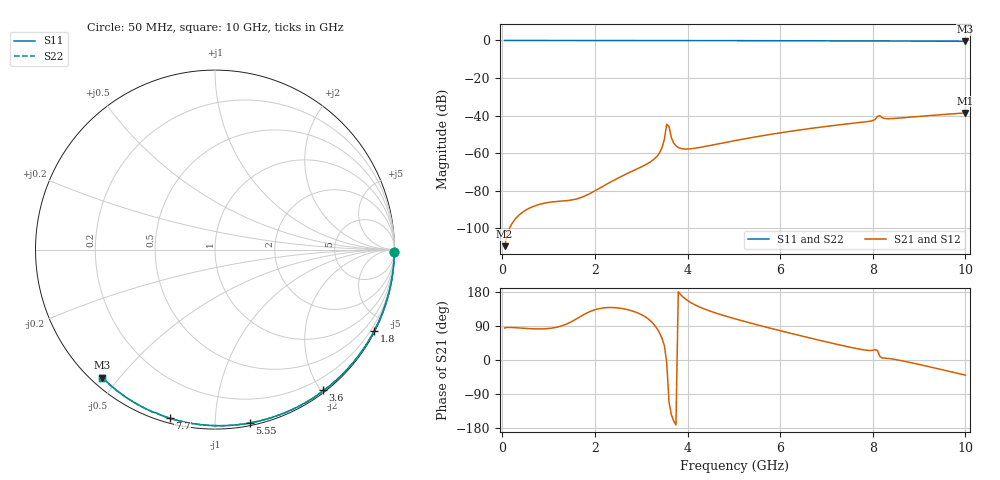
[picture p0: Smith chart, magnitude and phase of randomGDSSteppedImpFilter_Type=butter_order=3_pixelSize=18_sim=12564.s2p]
! freq	dB(S11)	phase(S11)	dB(S12)	phase(S12)
!  dB(S21)	phase(S21)	dB(S22)	phase(S22)
!S-par simulation data
#  GHz  S  DB  R 50
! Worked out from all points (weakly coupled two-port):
!   200 points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, 50 MHz to 10 GHz, reference 50 ohm
!   highest |S21| = -38.57 dB at 10 GHz (marker M1); lowest = -109.4 dB at 50 MHz (marker M2)
!   lowest |S11| = -0.4 dB at 10 GHz (marker M3), VSWR 39.15, Z = 1.54 - j22.6 ohm
!   |S11| at or under -10 dB: nowhere
!   |S22| runs from -0.4 to 0.0 dB; largest |S21 - S12| = 0
!   S11 on the Smith chart (normalised r, x): 50 MHz: open; 1.8 GHz: 0.04, -4.17; 3.6 GHz: 0.03, -2.03; 5.55 GHz: 0.02, -1.22; 7.7 GHz: 0.02, -0.77; 10 GHz: 0.03, -0.45
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0.05  -0.00 -0.8  -109.43 84.4  -109.43 84.4  -0.00 -0.8
1.75  -0.03 -26.2  -83.09 119.1  -83.09 119.1  -0.03 -26.2
1.8  -0.03 -26.9  -82.55 122.4  -82.55 122.4  -0.03 -26.9
2  -0.04 -29.9  -80.01 132.7  -80.01 132.7  -0.04 -29.9
3.1  -0.06 -45.7  -66.05 112.9  -66.05 112.9  -0.06 -45.7
3.25  -0.06 -47.8  -63.70 97.2  -63.70 97.2  -0.06 -47.8
3.4  -0.07 -50.0  -59.57 70.6  -59.57 70.6  -0.07 -50.0
3.5  -0.08 -51.4  -52.53 37.6  -52.53 37.6  -0.08 -51.4
3.55  -0.11 -52.2  -44.61 -5.7  -44.61 -5.7  -0.11 -52.2
3.6  -0.10 -52.4  -45.73 -111.0  -45.73 -111.0  -0.10 -52.4
3.65  -0.08 -53.2  -51.65 -144.1  -51.65 -144.1  -0.08 -53.2
3.7  -0.08 -54.0  -54.54 -160.2  -54.54 -160.2  -0.08 -54.0
3.85  -0.08 -56.1  -57.44 172.6  -57.44 172.6  -0.08 -56.1
4.15  -0.08 -60.2  -57.38 146.2  -57.38 146.2  -0.08 -60.2
5.05  -0.11 -72.2  -53.17 107.8  -53.17 107.8  -0.11 -72.2
5.55  -0.13 -78.7  -50.95 91.4  -50.95 91.4  -0.13 -78.7
6.7  -0.18 -93.1  -46.67 56.4  -46.67 56.4  -0.18 -93.1
7.7  -0.24 -105.1  -43.69 28.9  -43.69 28.9  -0.24 -105.1
8  -0.27 -108.6  -42.64 25.6  -42.64 25.6  -0.27 -108.6
8.15  -0.28 -110.2  -39.98 10.3  -39.98 10.3  -0.28 -110.2
8.35  -0.28 -112.6  -41.62 4.0  -41.62 4.0  -0.28 -112.6
10  -0.44 -131.4  -38.57 -39.9  -38.57 -39.9  -0.44 -131.4
